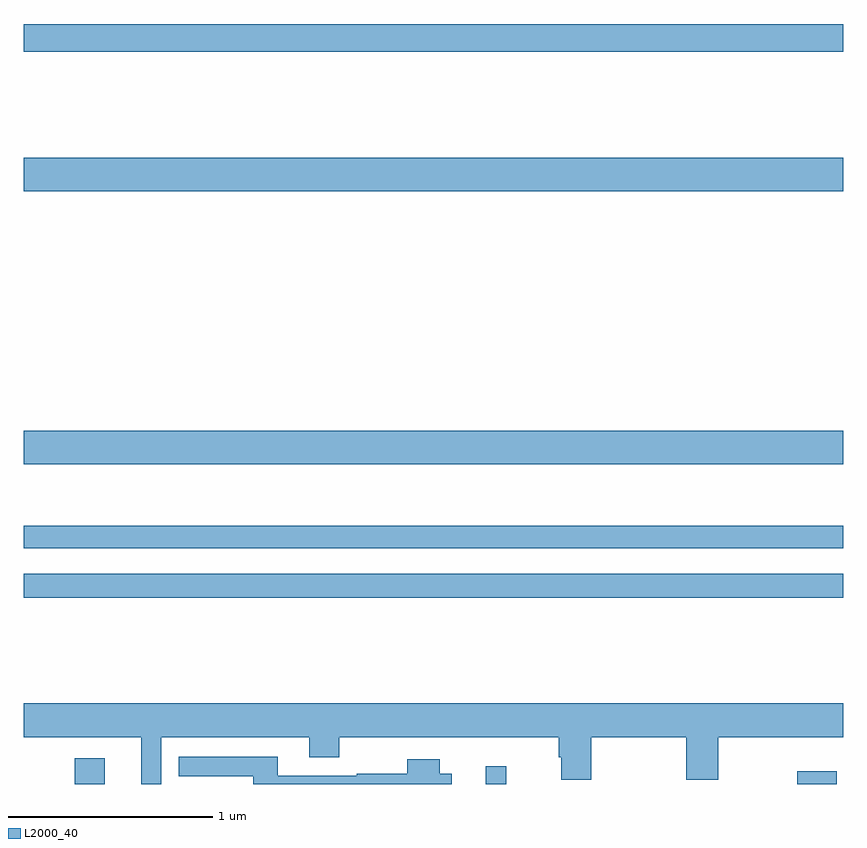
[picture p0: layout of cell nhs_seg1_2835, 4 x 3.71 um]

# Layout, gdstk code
import gdstk
lib = gdstk.Library(unit=1e-6, precision=1e-09)
def R(c, l, rs):  # rectangles x0, y0, x1, y1
    for r in rs: c.add(gdstk.rectangle(r[:2], r[2:], *l))
def P(c, l, *ps):  # polygons
    for p in ps: c.add(gdstk.Polygon(p, *l))
L2000_40 = (2000, 40)

nhs_seg1_2835 = lib.new_cell('nhs_seg1_2835')
R(nhs_seg1_2835, L2000_40, [(265.25,522.199,265.396,522.325), (267.254,522.199,267.356,522.286), (268.776,522.199,268.969,522.262), (265,523.108,269,523.224), (265,523.35,269,523.459), (265,523.76,269,523.924), (265,525.092,269,525.256), (265,525.772,269,525.908)])
P(nhs_seg1_2835, L2000_40, [(265.671,522.428),(266.393,522.428),(266.393,522.329),(266.541,522.329),(266.541,522.428),(267.611,522.428),(267.611,522.33),(267.623,522.33),(267.623,522.22),(267.771,522.22),(267.771,522.428),(268.234,522.428),(268.234,522.22),(268.389,522.22),(268.389,522.428),(269,522.428),(269,522.592),(265,522.592),(265,522.428),(265.574,522.428),(265.574,522.199),(265.671,522.199)],
  [(267.088,522.249),(267.031,522.249),(267.031,522.319),(266.872,522.319),(266.872,522.25),(266.625,522.25),(266.625,522.24),(266.239,522.24),(266.239,522.333),(265.756,522.333),(265.756,522.237),(266.12,522.237),(266.12,522.199),(267.088,522.199)])

lib.write_gds('nhs_seg1_2835.gds')
